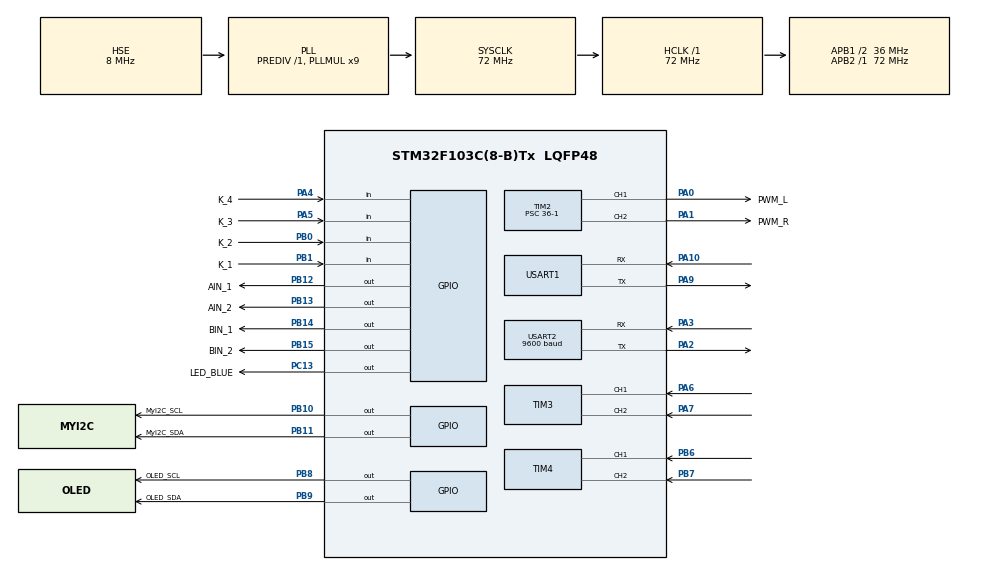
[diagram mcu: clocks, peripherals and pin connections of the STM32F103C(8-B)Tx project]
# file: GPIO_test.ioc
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Dma.Request0=USART2_TX
Dma.Request1=USART2_RX
Dma.USART2_RX.1.Direction=DMA_PERIPH_TO_MEMORY
Dma.USART2_RX.1.Instance=DMA1_Channel6
Dma.USART2_RX.1.MemDataAlignment=DMA_MDATAALIGN_BYTE
Dma.USART2_RX.1.MemInc=DMA_MINC_ENABLE
Dma.USART2_RX.1.Mode=DMA_CIRCULAR
Dma.USART2_RX.1.PeriphDataAlignment=DMA_PDATAALIGN_BYTE
Dma.USART2_RX.1.PeriphInc=DMA_PINC_DISABLE
Dma.USART2_RX.1.Priority=DMA_PRIORITY_HIGH
Dma.USART2_TX.0.Direction=DMA_MEMORY_TO_PERIPH
Dma.USART2_TX.0.Instance=DMA1_Channel7
Dma.USART2_TX.0.MemDataAlignment=DMA_MDATAALIGN_BYTE
Dma.USART2_TX.0.MemInc=DMA_MINC_ENABLE
Dma.USART2_TX.0.Mode=DMA_NORMAL
Dma.USART2_TX.0.PeriphDataAlignment=DMA_PDATAALIGN_BYTE
Dma.USART2_TX.0.PeriphInc=DMA_PINC_DISABLE
Dma.USART2_TX.0.Priority=DMA_PRIORITY_MEDIUM
FREERTOS.Tasks01=defaultTask,24,128,StartDefaultTask,Default,NULL,Dynamic,NULL,NULL
Mcu.Family=STM32F1
Mcu.Name=STM32F103C(8-B)Tx
Mcu.Package=LQFP48
NVIC.DMA1_Channel6_IRQn=true\:1\:0\:true\:false\:true\:true\:false\:true\:true
NVIC.DMA1_Channel7_IRQn=true\:1\:0\:true\:false\:true\:true\:false\:true\:true
NVIC.PriorityGroup=NVIC_PRIORITYGROUP_4
NVIC.TIM1_UP_IRQn=true\:1\:0\:true\:false\:true\:true\:true\:true\:true
NVIC.USART1_IRQn=true\:1\:0\:true\:false\:true\:true\:true\:true\:true
NVIC.USART2_IRQn=true\:0\:0\:true\:false\:true\:true\:true\:true\:true
PA0-WKUP.GPIO_Label=PWM_L
PA0-WKUP.GPIO_ModeDefaultPP=GPIO_MODE_AF_PP
PA0-WKUP.Signal=S_TIM2_CH1_ETR
PA1.GPIO_Label=PWM_R
PA1.Signal=S_TIM2_CH2
PA10.Mode=Asynchronous
PA10.Signal=USART1_RX
PA13.Mode=Serial_Wire
PA13.Signal=SYS_JTMS-SWDIO
PA14.Mode=Serial_Wire
PA14.Signal=SYS_JTCK-SWCLK
PA2.Mode=Asynchronous
PA2.Signal=USART2_TX
PA3.Mode=Asynchronous
PA3.Signal=USART2_RX
PA4.GPIO_Label=K_4
PA4.GPIO_PuPd=GPIO_PULLUP
PA4.Signal=GPIO_Input
PA5.GPIO_Label=K_3
PA5.GPIO_PuPd=GPIO_PULLUP
PA5.Signal=GPIO_Input
PA6.Signal=S_TIM3_CH1
PA7.Signal=S_TIM3_CH2
PA9.Mode=Asynchronous
PA9.Signal=USART1_TX
PB0.GPIO_Label=K_2
PB0.GPIO_PuPd=GPIO_PULLUP
PB0.Signal=GPIO_Input
PB1.GPIO_Label=K_1
PB1.GPIO_PuPd=GPIO_PULLUP
PB1.Signal=GPIO_Input
PB10.GPIO_Label=MyI2C_SCL
PB10.GPIO_ModeDefaultOutputPP=GPIO_MODE_OUTPUT_OD
PB10.GPIO_PuPd=GPIO_PULLUP
PB10.PinState=GPIO_PIN_SET
PB10.Signal=GPIO_Output
PB11.GPIO_Label=MyI2C_SDA
PB11.GPIO_ModeDefaultOutputPP=GPIO_MODE_OUTPUT_OD
PB11.GPIO_PuPd=GPIO_PULLUP
PB11.PinState=GPIO_PIN_SET
PB11.Signal=GPIO_Output
PB12.GPIO_Label=AIN_1
PB12.Signal=GPIO_Output
PB13.GPIO_Label=AIN_2
PB13.Signal=GPIO_Output
PB14.GPIO_Label=BIN_1
PB14.Signal=GPIO_Output
PB15.GPIO_Label=BIN_2
PB15.Signal=GPIO_Output
PB6.Signal=S_TIM4_CH1
PB7.Signal=S_TIM4_CH2
PB8.GPIO_Label=OLED_SCL
PB8.GPIO_ModeDefaultOutputPP=GPIO_MODE_OUTPUT_OD
PB8.GPIO_PuPd=GPIO_PULLUP
PB8.PinState=GPIO_PIN_SET
PB8.Signal=GPIO_Output
PB9.GPIO_Label=OLED_SDA
PB9.GPIO_ModeDefaultOutputPP=GPIO_MODE_OUTPUT_OD
PB9.GPIO_PuPd=GPIO_PULLUP
PB9.PinState=GPIO_PIN_SET
PB9.Signal=GPIO_Output
PC13-TAMPER-RTC.GPIO_Label=LED_BLUE
PC13-TAMPER-RTC.PinState=GPIO_PIN_SET
PC13-TAMPER-RTC.Signal=GPIO_Output
PD0-OSC_IN.Mode=HSE-External-Oscillator
PD0-OSC_IN.Signal=RCC_OSC_IN
PD1-OSC_OUT.Mode=HSE-External-Oscillator
PD1-OSC_OUT.Signal=RCC_OSC_OUT
ProjectManager.HeapSize=0x200
ProjectManager.StackSize=0x400
ProjectManager.TargetToolchain=CMake
RCC.AHBFreq_Value=72000000
RCC.APB1CLKDivider=RCC_HCLK_DIV2
RCC.APB1Freq_Value=36000000
RCC.APB1TimFreq_Value=72000000
RCC.APB2Freq_Value=72000000
RCC.APB2TimFreq_Value=72000000
RCC.HCLKFreq_Value=72000000
RCC.PLLMUL=RCC_PLL_MUL9
RCC.PLLSourceVirtual=RCC_PLLSOURCE_HSE
RCC.SYSCLKFreq_VALUE=72000000
RCC.SYSCLKSource=RCC_SYSCLKSOURCE_PLLCLK
RCC.USBFreq_Value=72000000
SH.S_TIM2_CH1_ETR.0=TIM2_CH1,PWM Generation1 CH1
SH.S_TIM2_CH2.0=TIM2_CH2,PWM Generation2 CH2
SH.S_TIM3_CH1.0=TIM3_CH1,Encoder_Interface
SH.S_TIM3_CH2.0=TIM3_CH2,Encoder_Interface
SH.S_TIM4_CH1.0=TIM4_CH1,Encoder_Interface
SH.S_TIM4_CH2.0=TIM4_CH2,Encoder_Interface
TIM1.AutoReloadPreload=TIM_AUTORELOAD_PRELOAD_ENABLE
TIM1.Period=1000-1
TIM1.Prescaler=72-1
TIM2.AutoReloadPreload=TIM_AUTORELOAD_PRELOAD_ENABLE
TIM2.Channel-PWM\ Generation1\ CH1=TIM_CHANNEL_1
TIM2.Channel-PWM\ Generation2\ CH2=TIM_CHANNEL_2
TIM2.Period=100-1
TIM2.Prescaler=36-1
TIM3.EncoderMode=TIM_ENCODERMODE_TI12
TIM3.IC1Filter=15
TIM3.IC2Filter=15
TIM4.EncoderMode=TIM_ENCODERMODE_TI12
TIM4.IC1Filter=15
TIM4.IC2Filter=15
TIM4.IC2Polarity=TIM_ICPOLARITY_FALLING
USART1.VirtualMode=VM_ASYNC
USART2.BaudRate=9600
USART2.VirtualMode=VM_ASYNC
VP_FREERTOS_VS_CMSIS_V2.Mode=CMSIS_V2
VP_TIM1_VS_ClockSourceINT.Mode=Internal
VP_TIM2_VS_ClockSourceINT.Mode=Internal
board=custom

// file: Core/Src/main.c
/* USER CODE BEGIN Header */
/**
 ******************************************************************************
 * @file           : main.c
 * @brief          : Main program body
 ******************************************************************************
 * @attention
 *
 * Copyright (c) 2026 STMicroelectronics.
 * All rights reserved.
 *
 * This software is licensed under terms that can be found in the LICENSE file
 * in the root directory of this software component.
 * If no LICENSE file comes with this software, it is provided AS-IS.
 *
 ******************************************************************************
 */
/* USER CODE END Header */
#include "main.h"
#include "cmsis_os.h"
#include "dma.h"
#include "tim.h"
#include "usart.h"
#include "gpio.h"

/* USER CODE BEGIN Includes */
#include "OLED.h"
#include "MPU6050.h"
#include "Motor.h"
#include "Encoder.h"
#include "Key.h"
#include "Serial.h"
#include "BlueSerial.h"
#include "task_main.h"
/* USER CODE END Includes */

void SystemClock_Config(void);
void MX_FREERTOS_Init(void);

/* USER CODE BEGIN 0 */

/* ★ DWT 初始化 */
static void DWT_Init(void)
{
    CoreDebug->DEMCR |= CoreDebug_DEMCR_TRCENA_Msk;
    DWT->CYCCNT = 0;
    DWT->CTRL |= DWT_CTRL_CYCCNTENA_Msk;
}

/* ★ 覆盖 HAL_GetTick（DWT 做时基） */
uint32_t HAL_GetTick(void)
{
    return DWT->CYCCNT / (SystemCoreClock / 1000);
}

/* ★ 覆盖 HAL_Delay */
void HAL_Delay(uint32_t Delay)
{
    uint32_t start = HAL_GetTick();
    while ((HAL_GetTick() - start) < Delay);
}

/* 1ms 心跳回调 */
void HAL_TIM_PeriodElapsedCallback(TIM_HandleTypeDef *htim)
{
    if (htim->Instance == TIM1)
    {
        Task_1ms_Tick();   /* 只置标志位 + 按键 Tick */
    }
}
/* USER CODE END 0 */

int main(void)
{

  /* MCU Configuration--------------------------------------------------------*/

  /* Reset of all peripherals, Initializes the Flash interface and the Systick. */
  HAL_Init();

  /* Configure the system clock */
  SystemClock_Config();

  /* USER CODE BEGIN SysInit */
  DWT_Init();   /* ★ 挪到这里，时钟已经稳定 72MHz */
  /* USER CODE END SysInit */

  /* Initialize all configured peripherals */
  MX_GPIO_Init();
  MX_DMA_Init();
  MX_TIM1_Init();
  MX_TIM2_Init();
  MX_TIM3_Init();
  MX_TIM4_Init();
  MX_USART1_UART_Init();
  MX_USART2_UART_Init();
  /* USER CODE BEGIN 2 */
  HAL_Delay(20);
  OLED_Init();           // 初始化 OLED（PB8/PB9）
  MPU6050_Init();
  Motor_Init();
  Encoder_Init();
  Key_Init();
  Serial_Init();
  BlueSerial_Init();
  HAL_GPIO_WritePin(GPIOC, GPIO_PIN_13, GPIO_PIN_SET);    /* PC13 LED 灭 */

  /* 任务层初始化 */
  Task_Init();

  HAL_TIM_Base_Start_IT(&htim1);   /* ★ 提前启动 1ms 心跳 */
  /* USER CODE END 2 */

  /* Init scheduler */
  osKernelInitialize();  /* Call init function for freertos objects (in cmsis_os2.c) */
  MX_FREERTOS_Init();

  /* Start scheduler */
  osKernelStart();

  /* We should never get here as control is now taken by the scheduler */

  /* Infinite loop */
  while (1) {

  }
}

void SystemClock_Config(void)
{
  RCC_OscInitTypeDef RCC_OscInitStruct = {0};
  RCC_ClkInitTypeDef RCC_ClkInitStruct = {0};

  /** Initializes the RCC Oscillators according to the specified parameters
  * in the RCC_OscInitTypeDef structure.
  */
  RCC_OscInitStruct.OscillatorType = RCC_OSCILLATORTYPE_HSE;
  RCC_OscInitStruct.HSEState = RCC_HSE_ON;
  RCC_OscInitStruct.HSEPredivValue = RCC_HSE_PREDIV_DIV1;
  RCC_OscInitStruct.HSIState = RCC_HSI_ON;
  RCC_OscInitStruct.PLL.PLLState = RCC_PLL_ON;
  RCC_OscInitStruct.PLL.PLLSource = RCC_PLLSOURCE_HSE;
  RCC_OscInitStruct.PLL.PLLMUL = RCC_PLL_MUL9;
  if (HAL_RCC_OscConfig(&RCC_OscInitStruct) != HAL_OK)
  {
    Error_Handler();
  }

  /** Initializes the CPU, AHB and APB buses clocks
  */
  RCC_ClkInitStruct.ClockType = RCC_CLOCKTYPE_HCLK|RCC_CLOCKTYPE_SYSCLK
                              |RCC_CLOCKTYPE_PCLK1|RCC_CLOCKTYPE_PCLK2;
  RCC_ClkInitStruct.SYSCLKSource = RCC_SYSCLKSOURCE_PLLCLK;
  RCC_ClkInitStruct.AHBCLKDivider = RCC_SYSCLK_DIV1;
  RCC_ClkInitStruct.APB1CLKDivider = RCC_HCLK_DIV2;
  RCC_ClkInitStruct.APB2CLKDivider = RCC_HCLK_DIV1;

  if (HAL_RCC_ClockConfig(&RCC_ClkInitStruct, FLASH_LATENCY_2) != HAL_OK)
  {
    Error_Handler();
  }
}

void Error_Handler(void)
{
  __disable_irq();
  while (1) {
  }
}
#ifdef USE_FULL_ASSERT
/**
  * @brief  Reports the name of the source file and the source line number
  *         where the assert_param error has occurred.
  * @param  file: pointer to the source file name
  * @param  line: assert_param error line source number
  * @retval None
  */
void assert_failed(uint8_t *file, uint32_t line)
{
  /* USER CODE BEGIN 6 */
  /* User can add his own implementation to report the file name and line
     number, ex: printf("Wrong parameters value: file %s on line %d\r\n", file,
     line) */
  /* USER CODE END 6 */
}
#endif /* USE_FULL_ASSERT */

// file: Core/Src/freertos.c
/* USER CODE BEGIN Header */
/**
  ******************************************************************************
  * File Name          : freertos.c
  * Description        : Code for freertos applications
  ******************************************************************************
  * @attention
  *
  * Copyright (c) 2026 STMicroelectronics.
  * All rights reserved.
  *
  * This software is licensed under terms that can be found in the LICENSE file
  * in the root directory of this software component.
  * If no LICENSE file comes with this software, it is provided AS-IS.
  *
  ******************************************************************************
  */
/* USER CODE END Header */

#include "FreeRTOS.h"
#include "task.h"
#include "main.h"
#include "cmsis_os.h"
#include "task_main.h"

/* Definitions for defaultTask */
osThreadId_t defaultTaskHandle;
const osThreadAttr_t defaultTask_attributes = {
  .name = "defaultTask",
  .stack_size = 512 * 4,
  .priority = (osPriority_t) osPriorityAboveNormal,
};

void StartDefaultTask(void *argument);

void MX_FREERTOS_Init(void); /* (MISRA C 2004 rule 8.1) */

void MX_FREERTOS_Init(void) {

  /* Create the thread(s) */
  /* creation of defaultTask */
  defaultTaskHandle = osThreadNew(StartDefaultTask, NULL, &defaultTask_attributes);

}

void StartDefaultTask(void *argument)
{
  /* USER CODE BEGIN StartDefaultTask */
  /* Infinite loop */
  for(;;)
  {
    Task_Main();        /* 三环控制 + 蓝牙 + OLED + 波形 */
    osDelay(1); /*1ms 让出 CPU*/
  }
  /* USER CODE END StartDefaultTask */
}

/* USER CODE BEGIN Application */
/* 栈溢出：慢闪（1秒一次） */
void vApplicationStackOverflowHook(TaskHandle_t xTask, char *pcTaskName)
{
    (void)xTask;
    (void)pcTaskName;
    __disable_irq();
    while (1)
    {
        HAL_GPIO_TogglePin(GPIOC, GPIO_PIN_13);
        for (volatile uint32_t i = 0; i < 5000000; i++);   /* ★ 慢闪 */
    }
}

/* malloc 失败：快闪（200ms 一次） */
void vApplicationMallocFailedHook(void)
{
    __disable_irq();
    while (1)
    {
        HAL_GPIO_TogglePin(GPIOC, GPIO_PIN_13);
        for (volatile uint32_t i = 0; i < 1000000; i++);   /* ★ 快闪 */
    }
}

/* USER CODE END Application */
